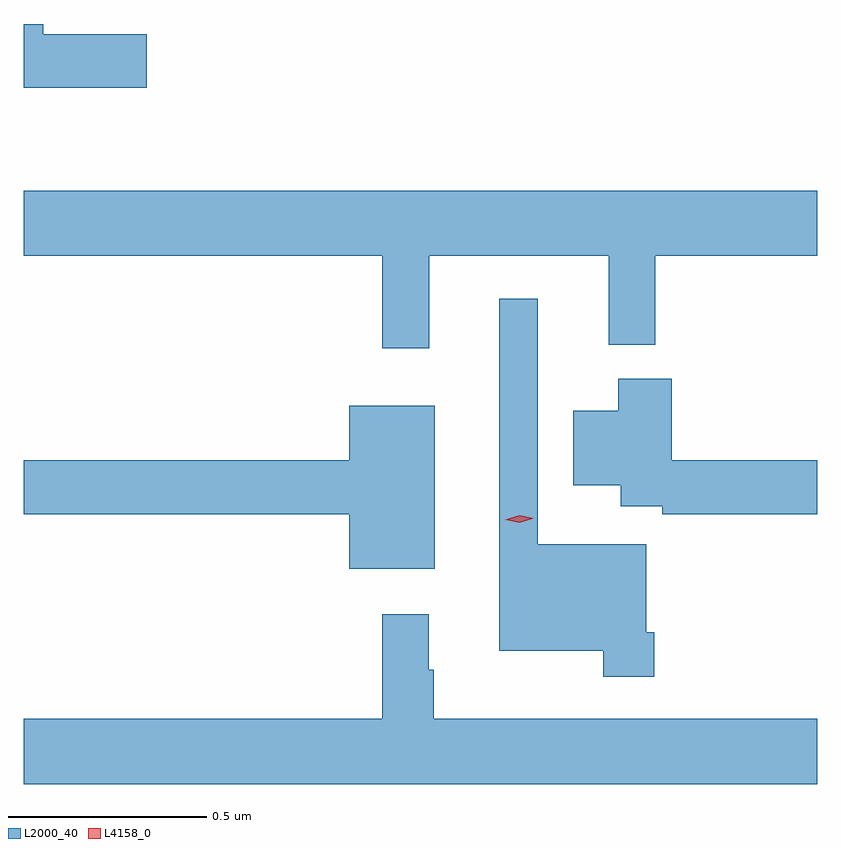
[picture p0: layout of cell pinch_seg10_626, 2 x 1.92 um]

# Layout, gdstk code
import gdstk
lib = gdstk.Library(unit=1e-6, precision=1e-09)
def P(c, l, *ps):  # polygons
    for p in ps: c.add(gdstk.Polygon(p, *l))
L2000_40 = (2000, 40)
L4158_0 = (4158, 0)

pinch_seg10_626 = lib.new_cell('pinch_seg10_626')
P(pinch_seg10_626, L2000_40, [(298.489,1275.566),(298.228,1275.566),(298.228,1275.592),(298.179,1275.592),(298.179,1275.431),(298.489,1275.431)],
  [(299.201,1275.008),(299.654,1275.008),(299.654,1274.783),(299.771,1274.783),(299.771,1275.008),(300.179,1275.008),(300.179,1275.172),(298.179,1275.172),(298.179,1275.008),(299.083,1275.008),(299.083,1274.775),(299.201,1274.775)],
  [(299.768,1274.059),(299.748,1274.059),(299.748,1274.281),(299.475,1274.281),(299.475,1274.899),(299.378,1274.899),(299.378,1274.012),(299.64,1274.012),(299.64,1273.947),(299.768,1273.947)],
  [(300.179,1274.492),(299.813,1274.492),(299.813,1274.698),(299.678,1274.698),(299.678,1274.617),(299.564,1274.617),(299.564,1274.429),(299.684,1274.429),(299.684,1274.376),(299.788,1274.376),(299.788,1274.356),(300.179,1274.356)],
  [(299.215,1274.629),(299,1274.629),(299,1274.492),(298.179,1274.492),(298.179,1274.356),(299,1274.356),(299,1274.219),(299.215,1274.219)],
  [(300.179,1273.84),(299.212,1273.84),(299.212,1273.964),(299.2,1273.964),(299.2,1274.104),(299.083,1274.104),(299.083,1273.84),(298.179,1273.84),(298.179,1273.676),(300.179,1273.676)])
P(pinch_seg10_626, L4158_0, [(299.429,1274.334),(299.393,1274.342),(299.393,1274.342),(299.393,1274.342),(299.428,1274.354),(299.464,1274.346),(299.465,1274.346),(299.464,1274.346)])

lib.write_gds('pinch_seg10_626.gds')
